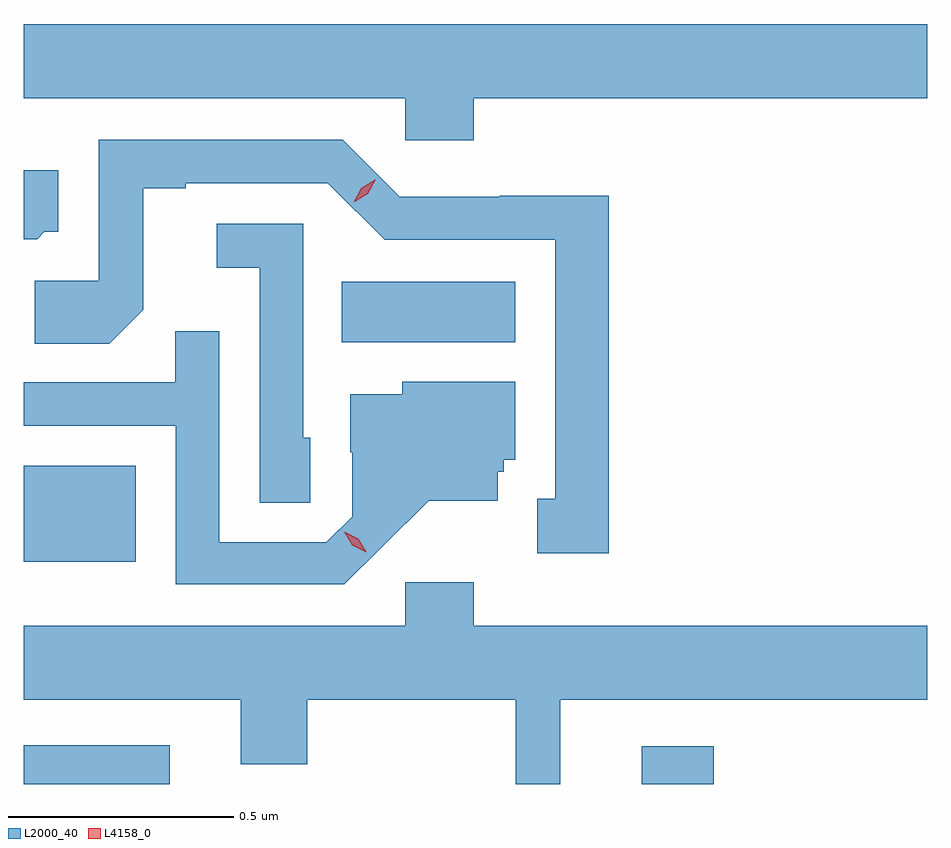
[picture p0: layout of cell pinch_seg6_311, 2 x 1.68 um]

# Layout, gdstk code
import gdstk
lib = gdstk.Library(unit=1e-6, precision=1e-09)
def R(c, l, rs):  # rectangles x0, y0, x1, y1
    for r in rs: c.add(gdstk.rectangle(r[:2], r[2:], *l))
def P(c, l, *ps):  # polygons
    for p in ps: c.add(gdstk.Polygon(p, *l))
L2000_40 = (2000, 40)
L4158_0 = (4158, 0)

pinch_seg6_311 = lib.new_cell('pinch_seg6_311')
R(pinch_seg6_311, L2000_40, [(666.356,956.474,666.679,956.56), (667.724,956.474,667.883,956.557), (666.356,956.966,666.604,957.178), (667.06,957.452,667.444,957.586)])
P(pinch_seg6_311, L2000_40, [(667.352,957.992),(668.356,957.992),(668.356,958.156),(666.356,958.156),(666.356,957.992),(667.2,957.992),(667.2,957.899),(667.352,957.899)],
  [(667.651,957.776),(667.41,957.776),(667.41,957.774),(667.188,957.774),(667.062,957.9),(666.522,957.9),(666.522,957.588),(666.381,957.588),(666.381,957.448),(666.545,957.448),(666.621,957.524),(666.621,957.792),(666.715,957.792),(666.715,957.804),(667.029,957.804),(667.155,957.678),(667.532,957.678),(667.532,957.105),(667.493,957.105),(667.493,956.985),(667.651,956.985)],
  [(666.402,957.696),(666.433,957.696),(666.433,957.832),(666.356,957.832),(666.356,957.68),(666.386,957.68)],
  [(666.99,957.24),(666.975,957.24),(666.975,957.714),(666.783,957.714),(666.783,957.617),(666.879,957.617),(666.879,957.097),(666.99,957.097)],
  [(667.15,956.999),(667.253,957.101),(667.405,957.101),(667.405,957.165),(667.419,957.165),(667.419,957.192),(667.444,957.192),(667.444,957.364),(667.194,957.364),(667.194,957.337),(667.079,957.337),(667.079,957.208),(667.083,957.208),(667.083,957.066),(667.026,957.009),(666.789,957.009),(666.789,957.476),(666.691,957.476),(666.691,957.363),(666.356,957.363),(666.356,957.267),(666.693,957.267),(666.693,956.916),(667.066,956.916)],
  [(667.544,956.66),(668.356,956.66),(668.356,956.824),(667.352,956.824),(667.352,956.92),(667.2,956.92),(667.2,956.824),(666.356,956.824),(666.356,956.66),(666.836,956.66),(666.836,956.518),(666.984,956.518),(666.984,956.66),(667.445,956.66),(667.445,956.474),(667.544,956.474)])
P(pinch_seg6_311, L4158_0, [(667.086,957.761),(667.086,957.761),(667.103,957.793),(667.135,957.812),(667.135,957.812),(667.135,957.812),(667.118,957.78),(667.086,957.761)],
  [(667.114,956.987),(667.083,957.002),(667.065,957.032),(667.065,957.032),(667.065,957.032),(667.096,957.017),(667.114,956.988),(667.114,956.987)])

lib.write_gds('pinch_seg6_311.gds')
